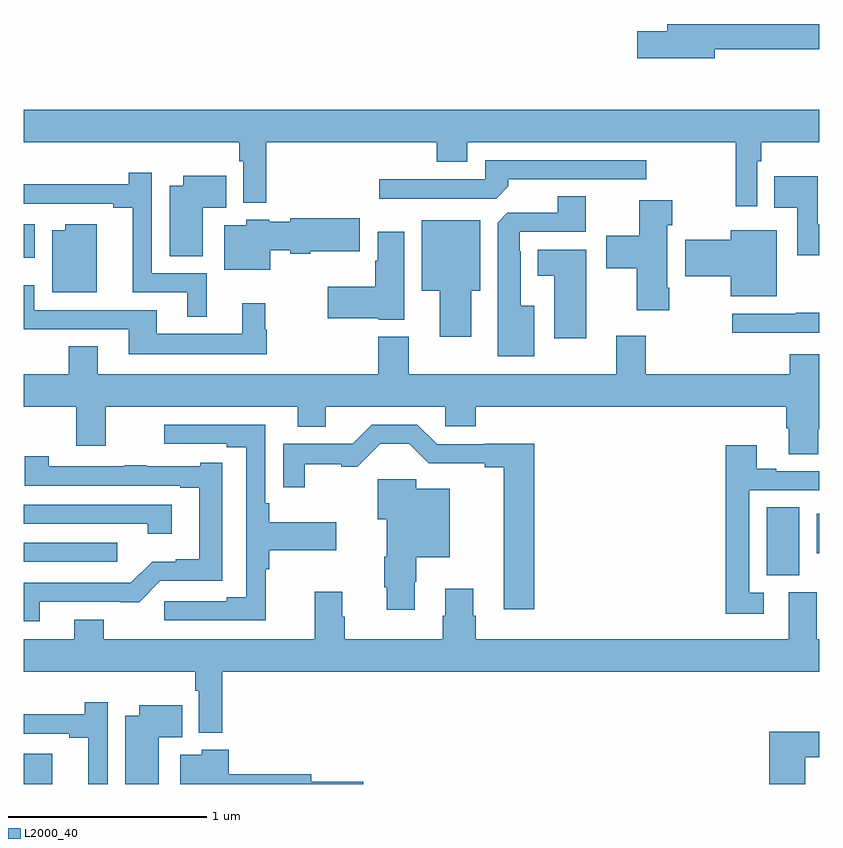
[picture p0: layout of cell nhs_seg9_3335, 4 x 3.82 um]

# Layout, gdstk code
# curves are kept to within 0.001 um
import gdstk
lib = gdstk.Library(unit=1e-6, precision=1e-09)
def R(c, l, rs):  # rectangles x0, y0, x1, y1
    for r in rs: c.add(gdstk.rectangle(r[:2], r[2:], *l))
def P(c, l, *ps):  # polygons
    for p in ps: c.add(gdstk.Polygon(p, *l))
L2000_40 = (2000, 40)

nhs_seg9_3335 = lib.new_cell('nhs_seg9_3335')
R(nhs_seg9_3335, L2000_40, [(301,1218.5,301.144,1218.652), (304.736,1219.549,304.9,1219.892), (301,1219.617,301.471,1219.713), (304.988,1219.661,305,1219.858), (301,1221.146,301.054,1221.316)])
P(nhs_seg9_3335, L2000_40, [(304.474,1222.194),(305,1222.194),(305,1222.322),(304.235,1222.322),(304.235,1222.286),(304.086,1222.286),(304.086,1222.151),(304.474,1222.151)],
  [(304.689,1221.632),(304.709,1221.632),(304.709,1221.728),(305,1221.728),(305,1221.892),(301,1221.892),(301,1221.728),(302.083,1221.728),(302.083,1221.632),(302.103,1221.632),(302.103,1221.422),(302.219,1221.422),(302.219,1221.728),(303.077,1221.728),(303.077,1221.629),(303.229,1221.629),(303.229,1221.728),(304.581,1221.728),(304.581,1221.405),(304.689,1221.405)],
  [(303.437,1221.506),(303.437,1221.54),(304.129,1221.54),(304.129,1221.636),(303.321,1221.636),(303.321,1221.54),(302.787,1221.54),(302.787,1221.444),(303.375,1221.444)],
  [(301.921,1221.069),(301.644,1221.069),(301.644,1221.574),(301.528,1221.574),(301.528,1221.515),(301,1221.515),(301,1221.417),(301.451,1221.417),(301.451,1221.397),(301.547,1221.397),(301.547,1220.973),(301.823,1220.973),(301.823,1220.849),(301.921,1220.849)],
  [(301.9,1221.398),(302.018,1221.398),(302.018,1221.559),(301.802,1221.559),(301.802,1221.508),(301.733,1221.508),(301.733,1221.154),(301.9,1221.154)],
  [(305,1221.315),(304.993,1221.315),(304.993,1221.556),(304.774,1221.556),(304.774,1221.398),(304.889,1221.398),(304.889,1221.159),(305,1221.159)],
  [(303.568,1220.905),(303.499,1220.905),(303.499,1221.179),(303.495,1221.179),(303.495,1221.276),(303.826,1221.276),(303.826,1221.455),(303.686,1221.455),(303.686,1221.372),(303.432,1221.372),(303.383,1221.323),(303.383,1220.651),(303.568,1220.651)],
  [(304.245,1220.995),(304.237,1220.995),(304.237,1221.309),(304.26,1221.309),(304.26,1221.436),(304.094,1221.436),(304.094,1221.256),(303.93,1221.256),(303.93,1221.094),(304.082,1221.094),(304.082,1220.883),(304.245,1220.883)],
  [(302.239,1221.185),(302.34,1221.185),(302.34,1221.167),(302.44,1221.167),(302.44,1221.179),(302.689,1221.179),(302.689,1221.345),(302.34,1221.345),(302.34,1221.327),(302.235,1221.327),(302.235,1221.337),(302.118,1221.337),(302.118,1221.31),(302.009,1221.31),(302.009,1221.086),(302.239,1221.086)],
  [(303.25,1220.981),(303.295,1220.981),(303.295,1221.334),(303.002,1221.334),(303.002,1220.981),(303.092,1220.981),(303.092,1220.748),(303.25,1220.748)],
  [(301.366,1221.316),(301.208,1221.316),(301.208,1221.286),(301.142,1221.286),(301.142,1220.972),(301.366,1220.972)],
  [(304.786,1221.286),(304.556,1221.286),(304.556,1221.236),(304.326,1221.236),(304.326,1221.053),(304.556,1221.053),(304.556,1220.954),(304.786,1220.954)],
  [(302.914,1221.277),(302.78,1221.277),(302.78,1221.131),(302.768,1221.131),(302.768,1221.001),(302.529,1221.001),(302.529,1220.843),(302.784,1220.843),(302.784,1220.834),(302.914,1220.834)],
  [(303.829,1221.187),(303.584,1221.187),(303.584,1221.056),(303.668,1221.056),(303.668,1220.742),(303.829,1220.742)],
  [(302.221,1220.784),(302.213,1220.784),(302.213,1220.917),(302.099,1220.917),(302.099,1220.764),(301.669,1220.764),(301.669,1220.883),(301.053,1220.883),(301.053,1221.007),(301,1221.007),(301,1220.787),(301.529,1220.787),(301.529,1220.66),(302.221,1220.66)],
  [(305,1220.87),(304.882,1220.87),(304.882,1220.865),(304.563,1220.865),(304.563,1220.769),(305,1220.769)],
  [(304.995,1220.283),(305,1220.283),(305,1220.662),(304.853,1220.662),(304.853,1220.56),(304.128,1220.56),(304.128,1220.755),(303.98,1220.755),(303.98,1220.56),(302.935,1220.56),(302.935,1220.749),(302.783,1220.749),(302.783,1220.56),(301.372,1220.56),(301.372,1220.702),(301.225,1220.702),(301.225,1220.56),(301,1220.56),(301,1220.396),(301.264,1220.396),(301.264,1220.202),(301.411,1220.202),(301.411,1220.396),(302.378,1220.396),(302.378,1220.297),(302.518,1220.297),(302.518,1220.396),(303.12,1220.396),(303.12,1220.298),(303.272,1220.298),(303.272,1220.396),(304.835,1220.396),(304.835,1220.29),(304.847,1220.29),(304.847,1220.158),(304.995,1220.158)],
  [(302.217,1219.58),(302.234,1219.58),(302.234,1219.676),(302.572,1219.676),(302.572,1219.816),(302.234,1219.816),(302.234,1219.912),(302.214,1219.912),(302.214,1220.307),(301.707,1220.307),(301.707,1220.211),(302.021,1220.211),(302.021,1220.193),(302.118,1220.193),(302.118,1219.439),(302.021,1219.439),(302.021,1219.419),(301.707,1219.419),(301.707,1219.323),(302.217,1219.323)],
  [(303.566,1220.21),(303.317,1220.21),(303.317,1220.208),(303.078,1220.208),(302.979,1220.307),(302.751,1220.307),(302.654,1220.21),(302.304,1220.21),(302.304,1219.992),(302.413,1219.992),(302.413,1220.107),(302.597,1220.107),(302.597,1220.095),(302.678,1220.095),(302.793,1220.21),(302.938,1220.21),(303.036,1220.112),(303.317,1220.112),(303.317,1220.092),(303.413,1220.092),(303.413,1219.38),(303.566,1219.38)],
  [(304.72,1219.461),(304.647,1219.461),(304.647,1219.977),(305,1219.977),(305,1220.073),(304.783,1220.073),(304.783,1220.086),(304.687,1220.086),(304.687,1220.203),(304.531,1220.203),(304.531,1219.356),(304.72,1219.356)],
  [(301.081,1219.416),(301.58,1219.415),(301.686,1219.521),(301.999,1219.521),(301.999,1220.116),(301.887,1220.116),(301.887,1220.097),(301.619,1220.097),(301.619,1220.102),(301.507,1220.102),(301.507,1220.097),(301.125,1220.097),(301.125,1220.149),(301.005,1220.149),(301.005,1220.001),(301.787,1220.001),(301.787,1219.989),(301.883,1219.989),(301.883,1219.63),(301.764,1219.63),(301.764,1219.618),(301.645,1219.618),(301.539,1219.512),(301,1219.512),(301,1219.319),(301.081,1219.319)],
  [(302.965,1219.517),(302.973,1219.517),(302.973,1219.64),(303.142,1219.64),(303.142,1219.984),(302.973,1219.984),(302.973,1220.032),(302.78,1220.032),(302.78,1219.832),(302.825,1219.832),(302.825,1219.644),(302.813,1219.644),(302.813,1219.489),(302.825,1219.489),(302.825,1219.377),(302.965,1219.377)],
  [(301.744,1219.905),(301,1219.905),(301,1219.809),(301.623,1219.809),(301.623,1219.758),(301.744,1219.758)],
  [(305,1219.228),(304.987,1219.228),(304.987,1219.464),(304.847,1219.464),(304.847,1219.228),(303.272,1219.228),(303.272,1219.347),(303.259,1219.347),(303.259,1219.483),(303.119,1219.483),(303.119,1219.347),(303.107,1219.347),(303.107,1219.228),(302.615,1219.228),(302.615,1219.34),(302.602,1219.34),(302.602,1219.468),(302.462,1219.468),(302.462,1219.228),(301.401,1219.228),(301.401,1219.327),(301.253,1219.327),(301.253,1219.228),(301,1219.228),(301,1219.064),(301.861,1219.064),(301.861,1218.968),(301.881,1218.968),(301.881,1218.758),(301.997,1218.758),(301.997,1219.064),(305,1219.064)],
  [(301.422,1218.91),(301.306,1218.91),(301.306,1218.851),(301,1218.851),(301,1218.753),(301.229,1218.753),(301.229,1218.733),(301.325,1218.733),(301.325,1218.5),(301.422,1218.5)],
  [(301.678,1218.734),(301.796,1218.734),(301.796,1218.895),(301.58,1218.895),(301.58,1218.844),(301.511,1218.844),(301.511,1218.5),(301.678,1218.5)],
  [(304.931,1218.634),(305,1218.634),(305,1218.763),(304.748,1218.763),(304.748,1218.5),(304.931,1218.5)],
  [(302.707,1218.512),(302.446,1218.512),(302.446,1218.548),(302.03,1218.548),(302.03,1218.673),(301.896,1218.673),(301.896,1218.646),(301.787,1218.646),(301.787,1218.5),(302.707,1218.5)])

lib.write_gds('nhs_seg9_3335.gds')
